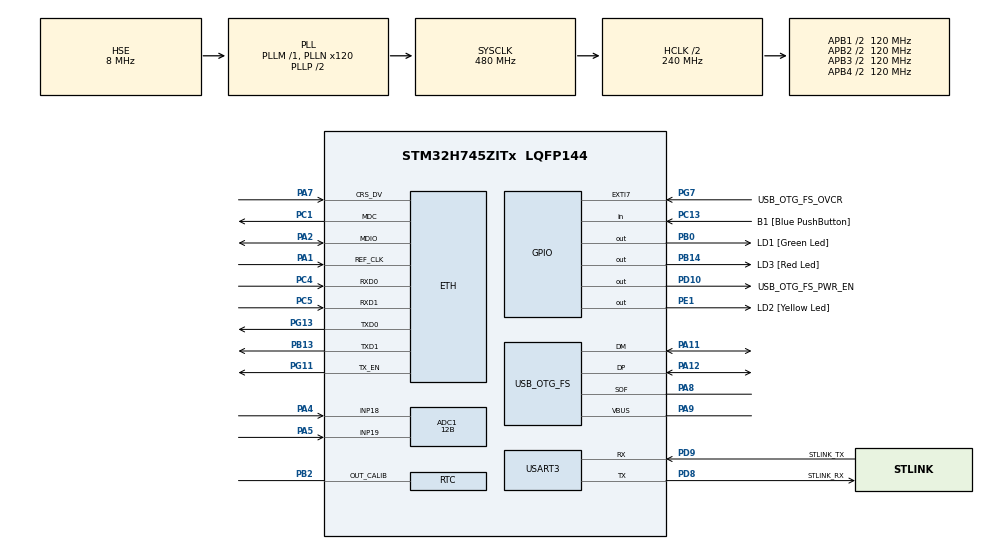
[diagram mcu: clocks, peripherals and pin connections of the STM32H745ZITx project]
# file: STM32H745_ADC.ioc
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ADC1.Channel-0\#ChannelRegularConversion=ADC_CHANNEL_19
ADC1.Channel-1\#ChannelRegularConversion=ADC_CHANNEL_18
ADC1.ContinuousConvMode=ENABLE
ADC1.ConversionDataManagement=ADC_CONVERSIONDATA_DMA_CIRCULAR
ADC1.Mode=ADC_MODE_INDEPENDENT
ADC1.NbrOfConversion=2
ADC1.NbrOfConversionFlag=1
ADC1.OffsetNumber-0\#ChannelRegularConversion=ADC_OFFSET_NONE
ADC1.OffsetNumber-1\#ChannelRegularConversion=ADC_OFFSET_NONE
ADC1.OffsetSignedSaturation-0\#ChannelRegularConversion=DISABLE
ADC1.Overrun=ADC_OVR_DATA_OVERWRITTEN
ADC1.Rank-0\#ChannelRegularConversion=1
ADC1.Rank-1\#ChannelRegularConversion=2
ADC1.Resolution=ADC_RESOLUTION_12B
ADC1.SamplingTime-0\#ChannelRegularConversion=ADC_SAMPLETIME_1CYCLE_5
ADC1.SamplingTime-1\#ChannelRegularConversion=ADC_SAMPLETIME_1CYCLE_5
ADC1.master=1
CortexM4.IPs=FATFS_M4\:I,FREERTOS_M4\:I,IWDG2\:I,RCC,WWDG2\:I,DMA,BDMA,MDMA,NVIC2\:I,USART3,ETH,DEBUG,USB_DEVICE_M4\:I,USB_HOST_M4\:I,PDM2PCM_M4\:I,PWR,RESMGR_UTILITY,SYS_M4\:I,CORTEX_M4\:I,OPENAMP_M4\:I,VREFBUF,GPIO,RTC
CortexM7.IPs=FATFS_M7\:I,FREERTOS_M7\:I,IWDG1\:I,RCC\:I,WWDG1\:I,DMA\:I,BDMA\:I,MDMA\:I,NVIC1\:I,SYS\:I,USART3\:I,USB_OTG_FS\:I,ETH\:I,CORTEX_M7\:I,DEBUG\:I,USB_DEVICE_M7\:I,USB_HOST_M7\:I,PDM2PCM_M7\:I,PWR\:I,RESMGR_UTILITY\:I,OPENAMP_M7\:I,VREFBUF\:I,GPIO\:I,ADC1\:I,RTC\:I
Dma.ADC1.0.Direction=DMA_PERIPH_TO_MEMORY
Dma.ADC1.0.EventEnable=DISABLE
Dma.ADC1.0.FIFOMode=DMA_FIFOMODE_DISABLE
Dma.ADC1.0.Instance=DMA1_Stream0
Dma.ADC1.0.MemDataAlignment=DMA_MDATAALIGN_HALFWORD
Dma.ADC1.0.MemInc=DMA_MINC_ENABLE
Dma.ADC1.0.Mode=DMA_CIRCULAR
Dma.ADC1.0.PeriphDataAlignment=DMA_PDATAALIGN_HALFWORD
Dma.ADC1.0.PeriphInc=DMA_PINC_DISABLE
Dma.ADC1.0.Polarity=HAL_DMAMUX_REQ_GEN_RISING
Dma.ADC1.0.Priority=DMA_PRIORITY_HIGH
Dma.ADC1.0.RequestNumber=1
Dma.ADC1.0.SignalID=NONE
Dma.ADC1.0.SyncEnable=DISABLE
Dma.ADC1.0.SyncPolarity=HAL_DMAMUX_SYNC_NO_EVENT
Dma.ADC1.0.SyncRequestNumber=1
Dma.ADC1.0.SyncSignalID=NONE
Dma.Request0=ADC1
ETH.MediaInterface=HAL_ETH_RMII_MODE
Mcu.Family=STM32H7
Mcu.Name=STM32H745ZITx
Mcu.Package=LQFP144
NVIC1.ADC_IRQn=true\:0\:0\:false\:false\:true\:true\:true\:true
NVIC1.DMA1_Stream0_IRQn=true\:0\:0\:false\:false\:true\:false\:true\:true
NVIC1.PriorityGroup=NVIC_PRIORITYGROUP_4
NVIC1.USART3_IRQn=true\:0\:0\:false\:false\:true\:true\:true\:true
NVIC2.PriorityGroup=NVIC_PRIORITYGROUP_4
PA1.Mode=RMII
PA1.PinAttribute=CortexM7
PA1.Signal=ETH_REF_CLK
PA11.Mode=Device_Only
PA11.PinAttribute=CortexM7
PA11.Signal=USB_OTG_FS_DM
PA12.Mode=Device_Only
PA12.PinAttribute=CortexM7
PA12.Signal=USB_OTG_FS_DP
PA2.Mode=RMII
PA2.PinAttribute=CortexM7
PA2.Signal=ETH_MDIO
PA4.PinAttribute=CortexM7
PA4.Signal=ADCx_INP18
PA5.PinAttribute=CortexM7
PA5.Signal=ADCx_INP19
PA7.Mode=RMII
PA7.PinAttribute=CortexM7
PA7.Signal=ETH_CRS_DV
PA8.Mode=Activate_SOF_FS
PA8.PinAttribute=CortexM7
PA8.Signal=USB_OTG_FS_SOF
PA9.Mode=Activate_VBUS
PA9.PinAttribute=CortexM7
PA9.Signal=USB_OTG_FS_VBUS
PB0.GPIO_Label=LD1 [Green Led]
PB0.PinAttribute=Free
PB0.Signal=GPIO_Output
PB13.Mode=RMII
PB13.PinAttribute=CortexM7
PB13.Signal=ETH_TXD1
PB14.GPIO_Label=LD3 [Red Led]
PB14.PinAttribute=Free
PB14.Signal=GPIO_Output
PB2.Mode=Calibration_1Hz
PB2.PinAttribute=CortexM7
PB2.Signal=RTC_OUT_CALIB
PC1.Mode=RMII
PC1.PinAttribute=CortexM7
PC1.Signal=ETH_MDC
PC13.GPIO_Label=B1 [Blue PushButton]
PC13.PinAttribute=Free
PC13.Signal=GPIO_Input
PC14-OSC32_IN\ (OSC32_IN).Mode=LSE-External-Oscillator
PC14-OSC32_IN\ (OSC32_IN).PinAttribute=CortexM7
PC14-OSC32_IN\ (OSC32_IN).Signal=RCC_OSC32_IN
PC15-OSC32_OUT\ (OSC32_OUT).Mode=LSE-External-Oscillator
PC15-OSC32_OUT\ (OSC32_OUT).PinAttribute=CortexM7
PC15-OSC32_OUT\ (OSC32_OUT).Signal=RCC_OSC32_OUT
PC4.Mode=RMII
PC4.PinAttribute=CortexM7
PC4.Signal=ETH_RXD0
PC5.Mode=RMII
PC5.PinAttribute=CortexM7
PC5.Signal=ETH_RXD1
PD10.GPIO_Label=USB_OTG_FS_PWR_EN
PD10.PinAttribute=Free
PD10.Signal=GPIO_Output
PD8.GPIO_Label=STLINK_RX
PD8.Mode=Asynchronous
PD8.PinAttribute=CortexM7
PD8.Signal=USART3_TX
PD9.GPIO_Label=STLINK_TX
PD9.Mode=Asynchronous
PD9.PinAttribute=CortexM7
PD9.Signal=USART3_RX
PE1.GPIO_Label=LD2 [Yellow Led]
PE1.PinAttribute=Free
PE1.Signal=GPIO_Output
PG11.Mode=RMII
PG11.PinAttribute=CortexM7
PG11.Signal=ETH_TX_EN
PG13.Mode=RMII
PG13.PinAttribute=CortexM7
PG13.Signal=ETH_TXD0
PG7.GPIO_Label=USB_OTG_FS_OVCR
PG7.PinAttribute=Free
PG7.Signal=GPXTI7
PH0-OSC_IN\ (PH0).Mode=HSE-External-Clock-Source
PH0-OSC_IN\ (PH0).PinAttribute=CortexM7
PH0-OSC_IN\ (PH0).Signal=RCC_OSC_IN
PH1-OSC_OUT\ (PH1).PinAttribute=CortexM7
PH1-OSC_OUT\ (PH1).Signal=RCC_OSC_OUT
ProjectManager.HeapSize=M4-0x200,M7-0x200
ProjectManager.StackSize=M4-0x400,M7-0x400
ProjectManager.TargetToolchain=STM32CubeIDE
RCC.ADCFreq_Value=35000000
RCC.APB1Freq_Value=120000000
RCC.APB2Freq_Value=120000000
RCC.APB3Freq_Value=120000000
RCC.APB4Freq_Value=120000000
RCC.CortexFreq_Value=480000000
RCC.D1PPRE=RCC_APB3_DIV2
RCC.D2PPRE1=RCC_APB1_DIV2
RCC.D2PPRE2=RCC_APB2_DIV2
RCC.D3PPRE=RCC_APB4_DIV2
RCC.DIVM1=1
RCC.DIVM2=1
RCC.DIVM3=1
RCC.DIVN1=120
RCC.DIVN2=21
RCC.DIVN3=18
RCC.DIVP2=5
RCC.DIVQ3=3
RCC.HCLKFreq_Value=240000000
RCC.HPRE=RCC_HCLK_DIV2
RCC.HSE_VALUE=8000000
RCC.PLL2FRACN=7168
RCC.PLL3FRACN=6144
RCC.PLLFRACN=0
RCC.SYSCLKFreq_VALUE=480000000
RCC.SYSCLKSource=RCC_SYSCLKSOURCE_PLLCLK
RCC.SupplySource=PWR_EXTERNAL_SOURCE_SUPPLY
RCC.USBCLockSelection=RCC_USBCLKSOURCE_PLL3
RCC.USBFreq_Value=50000000
SH.ADCx_INP18.0=ADC1_INP18,IN18-Single-Ended
SH.ADCx_INP19.0=ADC1_INP19,IN19-Single-Ended
USART3.VirtualMode-Asynchronous=VM_ASYNC
USB_OTG_FS.VirtualMode=Device_Only
VP_RTC_VS_RTC_Activate.Mode=RTC_Enabled
VP_RTC_VS_RTC_Calendar.Mode=RTC_Calendar
VP_SYS_M4_VS_Systick.Mode=SysTick
board=NUCLEO-H745ZI-Q

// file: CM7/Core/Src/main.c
/* USER CODE BEGIN Header */
/**
  ******************************************************************************
  * @file           : main.c
  * @brief          : Main program body
  ******************************************************************************
  * @attention
  *
  * Copyright (c) 2023 STMicroelectronics.
  * All rights reserved.
  *
  * This software is licensed under terms that can be found in the LICENSE file
  * in the root directory of this software component.
  * If no LICENSE file comes with this software, it is provided AS-IS.
  *
  ******************************************************************************
  */
#include <stdarg.h>
#include <stdlib.h>
/* USER CODE END Header */
#include "main.h"
#include "string.h"

/* USER CODE BEGIN Includes */
#define USE_FOR_LORA 	0
/* USER CODE END Includes */

/* USER CODE BEGIN PTD */
// #define ITM_TRACE_EN          *((volatile uint32_t *) 0xE0000000)
// #define ITM_STIMULUS_PORT0    *((volatile uint32_t *) 0xE0000E00)
/* USER CODE END PTD */

/* USER CODE BEGIN PD */

#ifndef HSEM_ID_0
#define HSEM_ID_0 (0U) /* HW semaphore 0*/
#endif
#define 	BUFFER_SIZE		50000
/*#define 	BUFFER_SIZE		50000
/* timestamp in BCD format */
#define HOURS     0x10
#define MINUTES   0x06
#define DATE      0x10
#define MONTH     RTC_MONTH_OCTOBER
#define YEAR      0x23

#define BFR_SIZE	1000
uint32_t buffer1[BFR_SIZE];
uint32_t buffer2[BFR_SIZE];
int gidxA = 0;
int gidxB = 0;
int rateA = 0;
int rateB = 0;
int millis = 0;
int a_shot = 0;
volatile int b_shot = 0;
volatile int c_shot = 0;
volatile int flag_buffer_complete = 0;

/* USER CODE END PD */

#if defined ( __ICCARM__ ) /*!< IAR Compiler */
#pragma location=0x30000000
ETH_DMADescTypeDef  DMARxDscrTab[ETH_RX_DESC_CNT]; /* Ethernet Rx DMA Descriptors */
#pragma location=0x30000200
ETH_DMADescTypeDef  DMATxDscrTab[ETH_TX_DESC_CNT]; /* Ethernet Tx DMA Descriptors */

#elif defined ( __CC_ARM )  /* MDK ARM Compiler */

__attribute__((at(0x30000000))) ETH_DMADescTypeDef  DMARxDscrTab[ETH_RX_DESC_CNT]; /* Ethernet Rx DMA Descriptors */
__attribute__((at(0x30000200))) ETH_DMADescTypeDef  DMATxDscrTab[ETH_TX_DESC_CNT]; /* Ethernet Tx DMA Descriptors */

#elif defined ( __GNUC__ ) /* GNU Compiler */
ETH_DMADescTypeDef DMARxDscrTab[ETH_RX_DESC_CNT] __attribute__((section(".RxDecripSection"))); /* Ethernet Rx DMA Descriptors */
ETH_DMADescTypeDef DMATxDscrTab[ETH_TX_DESC_CNT] __attribute__((section(".TxDecripSection")));   /* Ethernet Tx DMA Descriptors */

#endif

ETH_TxPacketConfig TxConfig;

ADC_HandleTypeDef hadc1;
DMA_HandleTypeDef hdma_adc1;

ETH_HandleTypeDef heth;

RTC_HandleTypeDef hrtc;

UART_HandleTypeDef huart3;

PCD_HandleTypeDef hpcd_USB_OTG_FS;

/* USER CODE BEGIN PV */
UART_HandleTypeDef hlpuart1;
HAL_StatusTypeDef HAL_ADCEx_MultiModeRegStart_DMA(ADC_HandleTypeDef *hadc, uint32_t *pData, uint32_t Length);
/* USER CODE END PV */

void SystemClock_Config(void);
static void MX_GPIO_Init(void);
static void MX_DMA_Init(void);
static void MX_USART3_UART_Init(void);
static void MX_USB_OTG_FS_PCD_Init(void);
static void MX_ADC1_Init(void);
static void MX_ETH_Init(void);
static void MX_RTC_Init(void);
/* USER CODE BEGIN PFP */
static void MX_LPUART1_UART_Init(void);
static void TransferDataADC(void);
/* USER CODE END PFP */

/* USER CODE BEGIN 0 */

uint16_t adraw[2];
uint8_t uart3_raw[10];
volatile int rx_flagA = 0;
volatile int rx_flagB = 0;
volatile int rx_flagG = 0;

//__IO uint16_t PA5_Data[BUFFER_SIZE] = {0};
__IO uint16_t PA6_Data[BUFFER_SIZE] = {0};
__IO uint32_t ADC_DualModeVal[4] = {0};
//__IO uint16_t ADC1Val[2] = {0};
//__IO uint16_t ADC2Val[2] = {0};
uint8_t adc_complete = 0;
uint32_t ctr = 0;

void SWD_Init(void)
{
  *(__IO uint32_t*)(0x5C001004) |= 0x00700000; // DBGMCU_CR D3DBGCKEN D1DBGCKEN TRACECLKEN

  //UNLOCK FUNNEL
  *(__IO uint32_t*)(0x5C004FB0) = 0xC5ACCE55; // SWTF_LAR
  *(__IO uint32_t*)(0x5C003FB0) = 0xC5ACCE55; // SWO_LAR

  //SWO current output divisor register
  //This divisor value (0x000000C7) corresponds to 400Mhz
  //To change it, you can use the following rule
  // value = (CPU Freq/sw speed )-1
   *(__IO uint32_t*)(0x5C003010) = ((SystemCoreClock / 2000000) - 1); // SWO_CODR

  //SWO selected pin protocol register
   *(__IO uint32_t*)(0x5C0030F0) = 0x00000002; // SWO_SPPR

  //Enable ITM input of SWO trace funnel
   *(__IO uint32_t*)(0x5C004000) |= 0x00000001; // SWFT_CTRL

  //RCC_AHB4ENR enable GPIOB clock
   *(__IO uint32_t*)(0x580244E0) |= 0x00000002;

  // Configure GPIOB pin 3 as AF
   *(__IO uint32_t*)(0x58020400) = (*(__IO uint32_t*)(0x58020400) & 0xffffff3f) | 0x00000080;

  // Configure GPIOB pin 3 Speed
   *(__IO uint32_t*)(0x58020408) |= 0x00000080;

  // Force AF0 for GPIOB pin 3
   *(__IO uint32_t*)(0x58020420) &= 0xFFFF0FFF;
}

int __io_putchar(int ch){
   ITM_SendChar(ch);
}

void printBuffers(uint32_t *bfr1, uint32_t *bfr2, int size);

void myprintf(const char *fmt, ...) {
  static char buffer[100];
  va_list args;
  va_start(args, fmt);
  vsnprintf(buffer, sizeof(buffer), fmt, args);
  va_end(args);

  int len = strlen(buffer);
  _write(0, (char*)buffer,len);
  //HAL_USART_Transmit(&husart2, (uint8_t*)buffer, len, -1);

}

void myprintf2(const char *fmt, ...) {
  static char buffer[100];
  va_list args;
  va_start(args, fmt);
  vsnprintf(buffer, sizeof(buffer), fmt, args);
  va_end(args);

  int len = strlen(buffer);
//  _write(0, (char*)buffer,len);
  HAL_UART_Transmit(&huart3, (uint8_t*)buffer, len, -1);

}

uint8_t temp = 0;
uint16_t located_fallEdge[50] = {0};
uint16_t dataPeak[50] = {0};
uint16_t located_peak[50] ={0};
uint8_t iPeak = 0;

static void PeakDetectnEdge(void)
{
    int diff = 0;
    uint16_t _tmpMax = BUFFER_SIZE-3;
    uint16_t tempPeak = 0;
    uint16_t tempLocPeak = 0;
    uint16_t ctr_cycles = 0;
    uint8_t iter = 0;
    uint8_t edge = 0;

    iPeak = 0;

   for(int i=8;i<_tmpMax;++i){

      diff = PA6_Data[i] - PA6_Data[i-8];
      if(diff < -42  ){
      // sprintf(temp_str,"found fall edge on : %d\n", i);
      // printf(temp_str);
            /* detected falling edge */
          if((i-located_fallEdge[iter]) > 90){

              if(located_fallEdge[iter])iter++;
              ctr_cycles=0;

              /* stored peak data on the next edge */
              if(edge==1 && tempPeak!=0){
                  dataPeak[iPeak] = tempPeak;
                  located_peak[iPeak] = tempLocPeak;
                  iPeak++;
                  tempPeak=0;
              }
              edge=1;

          }
          located_fallEdge[iter] = i;

      }

      if(edge){

          diff = PA6_Data[i] - PA6_Data[i-3];
          if(PA6_Data[i] > tempPeak){
              tempPeak = PA6_Data[i];
              tempLocPeak = ctr_cycles;
          }
          ctr_cycles++;
      }

   }
}

static void MovingAvg(void)
{
#if 0
  uint16_t AvgVal = 0;

  AvgVal = (AvgVal + PA6_Data[0] + PA6_Data[1]  + PA6_Data[2]) >> 2;

  for(int i=3;i<BUFFER_SIZE;++i){
    AvgVal = (AvgVal + PA6_Data[i]) >> 1;
    PA6_Data[i-3] = AvgVal;

  }
#else
  uint16_t ema[2] = {0};

  ema[0] = PA6_Data[0];

  for(int i=1;i<BUFFER_SIZE;++i){
	  ema[1] = ((PA6_Data[i]-ema[0])>>1) + ema[0];
	  PA6_Data[i-1] = ema[1];
	  ema[0] = ema[1];
  }
#endif

}

void HAL_UART_RxCpltCallback(UART_HandleTypeDef *huart)
{
	if(huart == &huart3)
	{
		if(uart3_raw[0] == 'a')
		{
			rx_flagA = 1;
			//HAL_UART_Receive_IT(&huart2, uart2_raw, 1);
		}

		if(uart3_raw[0] == 'b')
		{
			rx_flagB = 1;
			//HAL_UART_Receive_IT(&huart2, uart2_raw, 1);
		}

		rx_flagG = 1;
	}
	HAL_UART_Receive_IT(&huart3, uart3_raw, 1);
}
/* USER CODE END 0 */

int main(void)
{
/* USER CODE BEGIN Boot_Mode_Sequence_0 */
  int32_t timeout;
  RTC_DateTypeDef _date;
  RTC_TimeTypeDef _time;
/* USER CODE END Boot_Mode_Sequence_0 */

/* USER CODE BEGIN Boot_Mode_Sequence_1 */
  /* Wait until CPU2 boots and enters in stop mode or timeout*/
  timeout = 0xFFFF;
  while((__HAL_RCC_GET_FLAG(RCC_FLAG_D2CKRDY) != RESET) && (timeout-- > 0));
  if ( timeout < 0 )
  {
  Error_Handler();
  }
/* USER CODE END Boot_Mode_Sequence_1 */
  /* MCU Configuration--------------------------------------------------------*/

  /* Reset of all peripherals, Initializes the Flash interface and the Systick. */
  HAL_Init();

  /* Configure the system clock */
  SystemClock_Config();
/* USER CODE BEGIN Boot_Mode_Sequence_2 */
/* When system initialization is finished, Cortex-M7 will release Cortex-M4 by means of
HSEM notification */
/*HW semaphore Clock enable*/
__HAL_RCC_HSEM_CLK_ENABLE();
/*Take HSEM */
HAL_HSEM_FastTake(HSEM_ID_0);
/*Release HSEM in order to notify the CPU2(CM4)*/
HAL_HSEM_Release(HSEM_ID_0,0);
/* wait until CPU2 wakes up from stop mode */
timeout = 0xFFFF;
while((__HAL_RCC_GET_FLAG(RCC_FLAG_D2CKRDY) == RESET) && (timeout-- > 0));
if ( timeout < 0 )
{
Error_Handler();
}
/* USER CODE END Boot_Mode_Sequence_2 */

  /* USER CODE BEGIN SysInit */
  //SWD_Init();
  //write(0,"Hello",5);
  /* USER CODE END SysInit */

  /* Initialize all configured peripherals */
  MX_GPIO_Init();
  MX_DMA_Init();
  MX_USART3_UART_Init();
  MX_USB_OTG_FS_PCD_Init();
  MX_ADC1_Init();
  MX_ETH_Init();
  MX_RTC_Init();
  /* USER CODE BEGIN 2 */

  myprintf2("Starting .. \r\n");

  HAL_UART_Receive_IT(&huart3, uart3_raw, 1);

  HAL_ADC_Start_DMA(&hadc1, (uint32_t *)adraw, 2);

  /* USER CODE END 2 */

  /* Infinite loop */
  while (1)
  {

    /* USER CODE BEGIN 3 */
	  if(rx_flagG == 1)
	  {
		  rx_flagG = 0;
		  myprintf2("Serial Received ... \r\n");

		  if(flag_buffer_complete == 1)
		  {
			  if(rx_flagA == 1)
			  {
				  printBuffers(buffer1, buffer2, 1000);
				  rx_flagA = 0;
			  }
			  HAL_Delay(5000);
			  flag_buffer_complete = 0;
			  b_shot  = HAL_GetTick();
			  MX_DMA_Init();
		  }
	  }
  }
  /* USER CODE END 3 */
}

void SystemClock_Config(void)
{
  RCC_OscInitTypeDef RCC_OscInitStruct = {0};
  RCC_ClkInitTypeDef RCC_ClkInitStruct = {0};

  /** Supply configuration update enable
  */
  HAL_PWREx_ConfigSupply(PWR_EXTERNAL_SOURCE_SUPPLY);

  /** Configure the main internal regulator output voltage
  */
  __HAL_PWR_VOLTAGESCALING_CONFIG(PWR_REGULATOR_VOLTAGE_SCALE0);

  while(!__HAL_PWR_GET_FLAG(PWR_FLAG_VOSRDY)) {}

  /** Initializes the RCC Oscillators according to the specified parameters
  * in the RCC_OscInitTypeDef structure.
  */
  RCC_OscInitStruct.OscillatorType = RCC_OSCILLATORTYPE_LSI|RCC_OSCILLATORTYPE_HSE;
  RCC_OscInitStruct.HSEState = RCC_HSE_BYPASS;
  RCC_OscInitStruct.LSIState = RCC_LSI_ON;
  RCC_OscInitStruct.PLL.PLLState = RCC_PLL_ON;
  RCC_OscInitStruct.PLL.PLLSource = RCC_PLLSOURCE_HSE;
  RCC_OscInitStruct.PLL.PLLM = 1;
  RCC_OscInitStruct.PLL.PLLN = 120;
  RCC_OscInitStruct.PLL.PLLP = 2;
  RCC_OscInitStruct.PLL.PLLQ = 2;
  RCC_OscInitStruct.PLL.PLLR = 2;
  RCC_OscInitStruct.PLL.PLLRGE = RCC_PLL1VCIRANGE_3;
  RCC_OscInitStruct.PLL.PLLVCOSEL = RCC_PLL1VCOWIDE;
  RCC_OscInitStruct.PLL.PLLFRACN = 0;
  if (HAL_RCC_OscConfig(&RCC_OscInitStruct) != HAL_OK)
  {
    Error_Handler();
  }

  /** Initializes the CPU, AHB and APB buses clocks
  */
  RCC_ClkInitStruct.ClockType = RCC_CLOCKTYPE_HCLK|RCC_CLOCKTYPE_SYSCLK
                              |RCC_CLOCKTYPE_PCLK1|RCC_CLOCKTYPE_PCLK2
                              |RCC_CLOCKTYPE_D3PCLK1|RCC_CLOCKTYPE_D1PCLK1;
  RCC_ClkInitStruct.SYSCLKSource = RCC_SYSCLKSOURCE_PLLCLK;
  RCC_ClkInitStruct.SYSCLKDivider = RCC_SYSCLK_DIV1;
  RCC_ClkInitStruct.AHBCLKDivider = RCC_HCLK_DIV2;
  RCC_ClkInitStruct.APB3CLKDivider = RCC_APB3_DIV2;
  RCC_ClkInitStruct.APB1CLKDivider = RCC_APB1_DIV2;
  RCC_ClkInitStruct.APB2CLKDivider = RCC_APB2_DIV2;
  RCC_ClkInitStruct.APB4CLKDivider = RCC_APB4_DIV2;

  if (HAL_RCC_ClockConfig(&RCC_ClkInitStruct, FLASH_LATENCY_4) != HAL_OK)
  {
    Error_Handler();
  }
}

static void MX_ADC1_Init(void)
{

  ADC_MultiModeTypeDef multimode = {0};
  ADC_ChannelConfTypeDef sConfig = {0};

  /** Common config
  */
  hadc1.Instance = ADC1;
  hadc1.Init.ClockPrescaler = ADC_CLOCK_ASYNC_DIV1;
  hadc1.Init.Resolution = ADC_RESOLUTION_12B;
  hadc1.Init.ScanConvMode = ADC_SCAN_ENABLE;
  hadc1.Init.EOCSelection = ADC_EOC_SINGLE_CONV;
  hadc1.Init.LowPowerAutoWait = DISABLE;
  hadc1.Init.ContinuousConvMode = ENABLE;
  hadc1.Init.NbrOfConversion = 2;
  hadc1.Init.DiscontinuousConvMode = DISABLE;
  hadc1.Init.ExternalTrigConv = ADC_SOFTWARE_START;
  hadc1.Init.ExternalTrigConvEdge = ADC_EXTERNALTRIGCONVEDGE_NONE;
  hadc1.Init.ConversionDataManagement = ADC_CONVERSIONDATA_DMA_CIRCULAR;
  hadc1.Init.Overrun = ADC_OVR_DATA_OVERWRITTEN;
  hadc1.Init.LeftBitShift = ADC_LEFTBITSHIFT_NONE;
  hadc1.Init.OversamplingMode = DISABLE;
  if (HAL_ADC_Init(&hadc1) != HAL_OK)
  {
    Error_Handler();
  }

  /** Configure the ADC multi-mode
  */
  multimode.Mode = ADC_MODE_INDEPENDENT;
  if (HAL_ADCEx_MultiModeConfigChannel(&hadc1, &multimode) != HAL_OK)
  {
    Error_Handler();
  }

  /** Configure Regular Channel
  */
  sConfig.Channel = ADC_CHANNEL_19;
  sConfig.Rank = ADC_REGULAR_RANK_1;
  sConfig.SamplingTime = ADC_SAMPLETIME_1CYCLE_5;
  sConfig.SingleDiff = ADC_SINGLE_ENDED;
  sConfig.OffsetNumber = ADC_OFFSET_NONE;
  sConfig.Offset = 0;
  sConfig.OffsetSignedSaturation = DISABLE;
  if (HAL_ADC_ConfigChannel(&hadc1, &sConfig) != HAL_OK)
  {
    Error_Handler();
  }

  /** Configure Regular Channel
  */
  sConfig.Channel = ADC_CHANNEL_18;
  sConfig.Rank = ADC_REGULAR_RANK_2;
  if (HAL_ADC_ConfigChannel(&hadc1, &sConfig) != HAL_OK)
  {
    Error_Handler();
  }

}

static void MX_ETH_Init(void)
{

   static uint8_t MACAddr[6];

  heth.Instance = ETH;
  MACAddr[0] = 0x00;
  MACAddr[1] = 0x80;
  MACAddr[2] = 0xE1;
  MACAddr[3] = 0x00;
  MACAddr[4] = 0x00;
  MACAddr[5] = 0x00;
  heth.Init.MACAddr = &MACAddr[0];
  heth.Init.MediaInterface = HAL_ETH_RMII_MODE;
  heth.Init.TxDesc = DMATxDscrTab;
  heth.Init.RxDesc = DMARxDscrTab;
  heth.Init.RxBuffLen = 1524;

  if (HAL_ETH_Init(&heth) != HAL_OK)
  {
    Error_Handler();
  }

  memset(&TxConfig, 0 , sizeof(ETH_TxPacketConfig));
  TxConfig.Attributes = ETH_TX_PACKETS_FEATURES_CSUM | ETH_TX_PACKETS_FEATURES_CRCPAD;
  TxConfig.ChecksumCtrl = ETH_CHECKSUM_IPHDR_PAYLOAD_INSERT_PHDR_CALC;
  TxConfig.CRCPadCtrl = ETH_CRC_PAD_INSERT;

}

static void MX_RTC_Init(void)
{

  RTC_TimeTypeDef sTime = {0};
  RTC_DateTypeDef sDate = {0};

  /** Initialize RTC Only
  */
  hrtc.Instance = RTC;
  hrtc.Init.HourFormat = RTC_HOURFORMAT_24;
  hrtc.Init.AsynchPrediv = 127;
  hrtc.Init.SynchPrediv = 255;
  hrtc.Init.OutPut = RTC_OUTPUT_DISABLE;
  hrtc.Init.OutPutPolarity = RTC_OUTPUT_POLARITY_HIGH;
  hrtc.Init.OutPutType = RTC_OUTPUT_TYPE_OPENDRAIN;
  hrtc.Init.OutPutRemap = RTC_OUTPUT_REMAP_POS1;
  if (HAL_RTC_Init(&hrtc) != HAL_OK)
  {
    Error_Handler();
  }

  /** Initialize RTC and set the Time and Date
  */
  sTime.Hours = 0x0;
  sTime.Minutes = 0x0;
  sTime.Seconds = 0x0;
  sTime.DayLightSaving = RTC_DAYLIGHTSAVING_NONE;
  sTime.StoreOperation = RTC_STOREOPERATION_RESET;
  if (HAL_RTC_SetTime(&hrtc, &sTime, RTC_FORMAT_BCD) != HAL_OK)
  {
    Error_Handler();
  }
  sDate.WeekDay = RTC_WEEKDAY_MONDAY;
  sDate.Month = RTC_MONTH_JANUARY;
  sDate.Date = 0x1;
  sDate.Year = 0x0;

  if (HAL_RTC_SetDate(&hrtc, &sDate, RTC_FORMAT_BCD) != HAL_OK)
  {
    Error_Handler();
  }

  /** Enable Calibrartion
  */
  if (HAL_RTCEx_SetCalibrationOutPut(&hrtc, RTC_CALIBOUTPUT_1HZ) != HAL_OK)
  {
    Error_Handler();
  }

}

static void MX_USART3_UART_Init(void)
{

  huart3.Instance = USART3;
  huart3.Init.BaudRate = 115200;
  huart3.Init.WordLength = UART_WORDLENGTH_8B;
  huart3.Init.StopBits = UART_STOPBITS_1;
  huart3.Init.Parity = UART_PARITY_NONE;
  huart3.Init.Mode = UART_MODE_TX_RX;
  huart3.Init.HwFlowCtl = UART_HWCONTROL_NONE;
  huart3.Init.OverSampling = UART_OVERSAMPLING_16;
  huart3.Init.OneBitSampling = UART_ONE_BIT_SAMPLE_DISABLE;
  huart3.Init.ClockPrescaler = UART_PRESCALER_DIV1;
  huart3.AdvancedInit.AdvFeatureInit = UART_ADVFEATURE_NO_INIT;
  if (HAL_UART_Init(&huart3) != HAL_OK)
  {
    Error_Handler();
  }
  if (HAL_UARTEx_SetTxFifoThreshold(&huart3, UART_TXFIFO_THRESHOLD_1_8) != HAL_OK)
  {
    Error_Handler();
  }
  if (HAL_UARTEx_SetRxFifoThreshold(&huart3, UART_RXFIFO_THRESHOLD_1_8) != HAL_OK)
  {
    Error_Handler();
  }
  if (HAL_UARTEx_DisableFifoMode(&huart3) != HAL_OK)
  {
    Error_Handler();
  }

}

static void MX_USB_OTG_FS_PCD_Init(void)
{

  hpcd_USB_OTG_FS.Instance = USB_OTG_FS;
  hpcd_USB_OTG_FS.Init.dev_endpoints = 9;
  hpcd_USB_OTG_FS.Init.speed = PCD_SPEED_FULL;
  hpcd_USB_OTG_FS.Init.dma_enable = DISABLE;
  hpcd_USB_OTG_FS.Init.phy_itface = PCD_PHY_EMBEDDED;
  hpcd_USB_OTG_FS.Init.Sof_enable = DISABLE;
  hpcd_USB_OTG_FS.Init.low_power_enable = DISABLE;
  hpcd_USB_OTG_FS.Init.lpm_enable = DISABLE;
  hpcd_USB_OTG_FS.Init.battery_charging_enable = ENABLE;
  hpcd_USB_OTG_FS.Init.vbus_sensing_enable = ENABLE;
  hpcd_USB_OTG_FS.Init.use_dedicated_ep1 = DISABLE;
  if (HAL_PCD_Init(&hpcd_USB_OTG_FS) != HAL_OK)
  {
    Error_Handler();
  }

}

static void MX_DMA_Init(void)
{

  /* DMA controller clock enable */
  __HAL_RCC_DMA1_CLK_ENABLE();

  /* DMA interrupt init */
  /* DMA1_Stream0_IRQn interrupt configuration */
  HAL_NVIC_SetPriority(DMA1_Stream0_IRQn, 0, 0);
  HAL_NVIC_EnableIRQ(DMA1_Stream0_IRQn);

}

static void MX_GPIO_Init(void)
{

  /* GPIO Ports Clock Enable */
  __HAL_RCC_GPIOC_CLK_ENABLE();
  __HAL_RCC_GPIOH_CLK_ENABLE();
  __HAL_RCC_GPIOA_CLK_ENABLE();
  __HAL_RCC_GPIOB_CLK_ENABLE();
  __HAL_RCC_GPIOD_CLK_ENABLE();
  __HAL_RCC_GPIOG_CLK_ENABLE();

}

/* USER CODE BEGIN 4 */

void HAL_ADC_ConvCpltCallback(ADC_HandleTypeDef *AdcHandle)
{
	/*
    if(ctr < BUFFER_SIZE){
        PA6_Data[ctr++] = ADC_DualModeVal[0] & 0XFFFF;
        PA6_Data[ctr++] = (ADC_DualModeVal[0] >> 16) & 0XFFFF ;
        PA6_Data[ctr++] = ADC_DualModeVal[1] & 0XFFFF ;
        PA6_Data[ctr++] = (ADC_DualModeVal[1] >> 16) & 0XFFFF ;
		PA6_Data[ctr++] = ADC_DualModeVal[2] & 0XFFFF ;
		PA6_Data[ctr++] = (ADC_DualModeVal[2] >> 16) & 0XFFFF ;
		PA6_Data[ctr++] = ADC_DualModeVal[3] & 0XFFFF ;
		PA6_Data[ctr++] = (ADC_DualModeVal[3] >> 16) & 0XFFFF ;
        //ctr++;
    }
    else{
    	HAL_NVIC_DisableIRQ(DMA1_Stream0_IRQn);
    	//HAL_DMA_Abort(&hdma_adc1);
		//HAL_ADC_Stop(&hadc1);
		//HAL_ADC_Stop(&hadc2);
    	//HAL_ADCEx_MultiModeStop_DMA(&hdma_adc1);
    }
    */

	if( HAL_GetTick() > (b_shot + 1000))
	{
		b_shot  = HAL_GetTick();
		//HAL_NVIC_DisableIRQ(DMA1_Stream0_IRQn);
		rateB = rateA;
		rateA = 0;
	}
	else
	{
		rateA++;
	}

    if(gidxA < BFR_SIZE)
    {
    	buffer1[gidxA] = adraw[0]; // (ADC_DualModeVal[0] >> 16);
    	buffer2[gidxA] = adraw[1]; // (ADC_DualModeVal[1] >> 16);
    	gidxA++;
    }
    else
    {
    	HAL_NVIC_DisableIRQ(DMA1_Stream0_IRQn);
    	flag_buffer_complete = 1;
    	gidxA = 0;
    }
}

/**
  * @brief LPUART1 Initialization Function
  * @param None
  * @retval None
  */
static void MX_LPUART1_UART_Init(void)
{

  /* USER CODE BEGIN LPUART1_Init 0 */

  /* USER CODE END LPUART1_Init 0 */

  /* USER CODE BEGIN LPUART1_Init 1 */

  /* USER CODE END LPUART1_Init 1 */
  hlpuart1.Instance = LPUART1;
  hlpuart1.Init.BaudRate = 115200;
  hlpuart1.Init.WordLength = UART_WORDLENGTH_8B;
  hlpuart1.Init.StopBits = UART_STOPBITS_1;
  hlpuart1.Init.Parity = UART_PARITY_NONE;
  hlpuart1.Init.Mode = UART_MODE_TX_RX;
  hlpuart1.Init.HwFlowCtl = UART_HWCONTROL_NONE;
  hlpuart1.Init.OneBitSampling = UART_ONE_BIT_SAMPLE_DISABLE;
  hlpuart1.Init.ClockPrescaler = UART_PRESCALER_DIV1;
  hlpuart1.AdvancedInit.AdvFeatureInit = UART_ADVFEATURE_NO_INIT;
  hlpuart1.FifoMode = UART_FIFOMODE_DISABLE;
  if (HAL_UART_Init(&hlpuart1) != HAL_OK)
  {
    Error_Handler();
  }
  if (HAL_UARTEx_SetTxFifoThreshold(&hlpuart1, UART_TXFIFO_THRESHOLD_1_8) != HAL_OK)
  {
    Error_Handler();
  }
  if (HAL_UARTEx_SetRxFifoThreshold(&hlpuart1, UART_RXFIFO_THRESHOLD_1_8) != HAL_OK)
  {
    Error_Handler();
  }
  if (HAL_UARTEx_DisableFifoMode(&hlpuart1) != HAL_OK)
  {
    Error_Handler();
  }
  /* USER CODE BEGIN LPUART1_Init 2 */

  /* USER CODE END LPUART1_Init 2 */

}
uint16_t period_signal[100] = {0};
static void TransferDataADC(void)
{
  uint16_t tmpMaxData=BUFFER_SIZE;

  RTC_DateTypeDef _date;
  RTC_TimeTypeDef _time;

  HAL_RTC_GetTime(&hrtc, &_time, RTC_FORMAT_BCD);
  HAL_RTC_GetDate(&hrtc, &_date, RTC_FORMAT_BCD);

#if !USE_FOR_LORA
  /* transfer raw data ADC */
   for(int i= 0;i<tmpMaxData;++i){
     // sprintf(str,"%d",PA6_Data[i]);
     temp = PA6_Data[i] >>8;
     HAL_UART_Transmit(&hlpuart1, &PA6_Data[i] , 1, -1);
     HAL_UART_Transmit(&hlpuart1, &temp, 1, -1);
     // myprintf("%d\n",PA6_Data[i]);
     //HAL_Delay(50);
   }
    // HAL_UART_Transmit(&hlpuart1, ';', 1, -1);
#else
       /* find period each cycles */
  for(int i= 1;i<=iPeak;++i){
      period_signal[i-1] = located_fallEdge[i] - located_fallEdge[i-1];
      // HAL_UART_Transmit(&hlpuart1, &period_signal[i-1] , 1, -1);
      // temp = period_signal[i-1] >>8;
      // HAL_UART_Transmit(&hlpuart1, &temp, 1, -1);
  }

  /* transfer peak data & cycles */
  for(int i= 0;i<iPeak;++i){
      // sprintf(str,"%d",PA6_Data[i]);

      temp = dataPeak[i] >>8;
      HAL_UART_Transmit(&hlpuart1, &dataPeak[i] , 1, 500);
      HAL_UART_Transmit(&hlpuart1, &temp, 1, 500);
      /* transfer location of peak in each cycles */
      HAL_UART_Transmit(&hlpuart1, &located_peak[i] , 1, 500);
      temp = located_peak[i] >>8;
      HAL_UART_Transmit(&hlpuart1, &temp, 1, 500);
      /* transfer period of each cycles */
      HAL_UART_Transmit(&hlpuart1, &period_signal[i] , 1, 500);
      temp = period_signal[i] >>8;
      HAL_UART_Transmit(&hlpuart1, &temp, 1, 500);

      // myprintf("%d\n",PA6_Data[i]);
      //HAL_Delay(50);
    }

    // temp = ';';
    // HAL_UART_Transmit(&hlpuart1, &temp, 1, -1);
    // HAL_UART_Transmit(&hlpuart1, &temp, 1, -1);

     /* transfer timestamp */
  	 HAL_UART_Transmit(&hlpuart1, &_time.Seconds , 1, -1);
  	 HAL_UART_Transmit(&hlpuart1, &_time.Minutes , 1, -1);
     HAL_UART_Transmit(&hlpuart1, &_time.Hours , 1, -1);
     HAL_UART_Transmit(&hlpuart1, &_date.Date , 1, -1);
    // HAL_UART_Transmit(&hlpuart1, &_date.Month , 1, -1);
    // HAL_UART_Transmit(&hlpuart1, &_date.Date , 1, -1);

     /* transfer End of data Number */
     temp = 0xAA;
     HAL_UART_Transmit(&hlpuart1, &temp , 1, -1);
     HAL_UART_Transmit(&hlpuart1, &temp , 1, -1);
#endif
    /* clear buffer */
    for(int i= 0;i<iPeak;++i){
      dataPeak[i] = 0;
      located_peak[i] = 0;
      located_fallEdge[i] = 0;
    }

}

void printBuffers(uint32_t *bfr1, uint32_t *bfr2, int size)
{
	int lidx = 0;

	for(lidx=0;lidx < size; lidx++)
	{
		myprintf2("%d, %d\r\n", bfr1[lidx], bfr2[lidx]);
	}
}

/* USER CODE END 4 */

void Error_Handler(void)
{
  __disable_irq();
  while (1)
  {
  }
}
